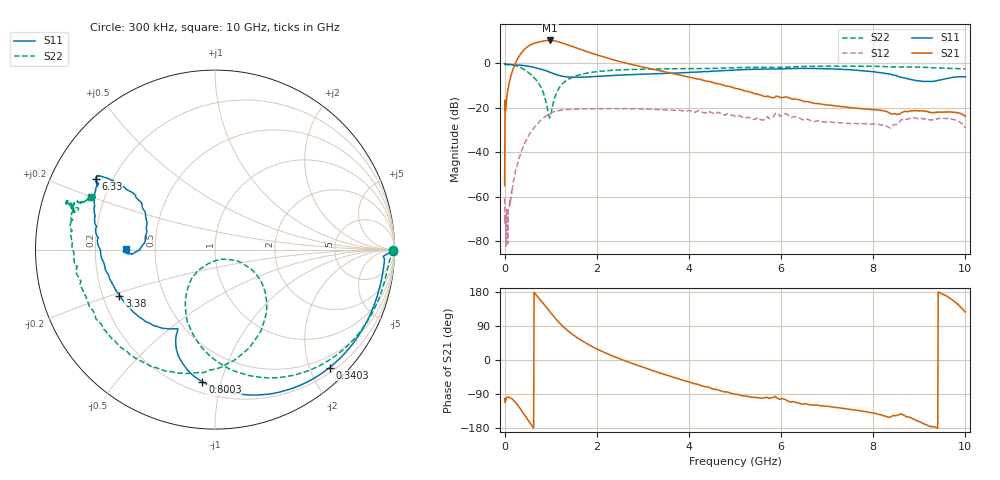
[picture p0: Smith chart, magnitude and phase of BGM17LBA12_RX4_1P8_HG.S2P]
!Agilent Technologies,E5071C,MY46316587,B.13.01
!Date: Fri Dec 08 11:08:04 2017
!Data & Calibration Information:
!Freq	S11:SOLT2(ON)	S21:SOLT2(ON)	S12:SOLT2(ON)	S22:SOLT2(ON)
!PortZ  Port1:50+j0  Port2:50+j0
!Above PortZ is port z conversion or system Z0 setting when saving the data.
!When reading, reference impedance value at option line is always used.
# Hz S dB R 50
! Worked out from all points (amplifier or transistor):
!   1001 points, 300 kHz to 10 GHz, reference 50 ohm
!   highest |S21| = 10.4 dB at 990.3 MHz (marker M1)
!   |S21| within 3 dB of that: 487.5 MHz to 1.503 GHz (1.016 GHz wide, 102 % of centre)
!   unconditionally stable (mu >= 1): start of sweep to end of sweep
!   at 1.66 GHz: K = 1.43, MAG = 9.4 dB, |S12| = -20.5 dB
!   at 5 GHz: K = 5.37, MAG = -4.0 dB, |S12| = -23.8 dB
!   at 10 GHz: K = 72.89, MAG = -19.0 dB, |S12| = -29.1 dB
!   lowest NFmin = 1.07 dB at 750 MHz
!   S11 on the Smith chart (normalised r, x): 300 kHz: open; 340.3 MHz: 0.28, -2.34; 800.3 MHz: 0.27, -0.87; 3.38 GHz: 0.27, -0.21; 6.33 GHz: 0.14, +0.27; 10 GHz: 0.34, +0.00
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300000  -0.05 -0.4  -55.04 -101.0  -60.83 -60.5  -0.07 -0.1
6.02982e7  -0.51 -8.6  -13.31 -98.2  -68.14 92.0  -0.35 -11.2
2.102937e8  -0.60 -28.8  -1.15 -108.6  -51.62 158.2  -0.84 -37.7
3.402898e8  -0.76 -45.9  4.05 -128.4  -41.11 159.1  -1.79 -60.3
4.602862e8  -1.06 -60.9  6.90 -150.1  -34.96 145.7  -3.20 -80.0
5.902823e8  -1.56 -75.6  8.63 -173.0  -30.36 131.2  -5.38 -99.0
6.902793e8  -2.01 -85.6  9.39 171.3  -27.71 120.4  -7.61 -112.3
8.00276e8  -2.62 -95.5  9.91 154.6  -25.37 108.1  -11.19 -124.3
9.902703e8  -4.00 -108.6  10.36 126.4  -22.44 85.4  -24.19 -62.8
1.140266e9  -5.15 -113.4  9.90 104.5  -21.31 68.5  -12.70 -28.5
1.33026e9  -6.00 -114.7  8.66 81.6  -20.80 52.1  -7.81 -45.1
1.67025e9  -6.17 -116.2  6.13 51.3  -20.48 32.1  -4.85 -69.6
2.00024e9  -5.82 -120.1  3.84 29.3  -20.39 18.5  -3.66 -87.0
2.35023e9  -5.43 -126.6  1.69 10.3  -20.40 8.0  -3.05 -101.1
3.3402e9  -4.59 -153.2  -3.15 -32.8  -20.74 -20.2  -2.46 -132.6
3.380199e9  -4.57 -154.3  -3.33 -34.4  -20.76 -21.6  -2.42 -133.8
5.00015e9  -2.93 160.8  -11.17 -90.2  -23.78 -56.8  -1.98 177.2
6.33011e9  -2.25 149.4  -16.11 -112.2  -24.07 -77.0  -1.46 162.9
6.6701e9  -2.25 147.7  -17.72 -118.9  -25.96 -81.6  -1.27 161.8
8.34005e9  -4.71 145.6  -22.14 -151.2  -28.83 -94.9  -1.48 162.1
8.870034e9  -7.45 155.3  -21.27 -156.0  -24.53 -110.1  -1.55 162.8
1e10  -6.09 179.4  -23.81 126.5  -29.14 144.9  -2.49 157.1
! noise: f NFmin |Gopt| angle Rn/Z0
6.5e+08  1.1  0.5631  64.83  0.3216
7e+08  1.116  0.4949  68.04  0.2444
7.5e+08  1.075  0.5232  70.57  0.2348
8e+08  1.106  0.5036  74.76  0.2406
8.5e+08  1.122  0.4781  78.09  0.2243
9e+08  1.131  0.4614  79.44  0.2186
9.5e+08  1.157  0.4663  82.86  0.2258
1e+09  1.19  0.4439  88  0.1989
